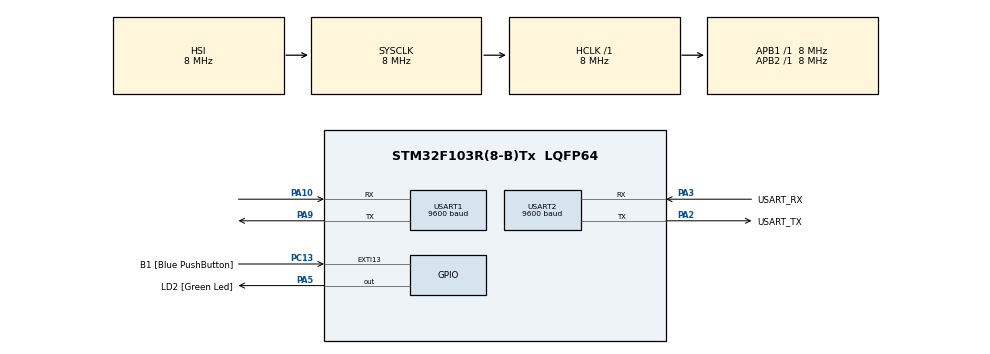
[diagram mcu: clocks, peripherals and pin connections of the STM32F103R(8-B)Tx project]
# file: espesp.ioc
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Mcu.Family=STM32F1
Mcu.Name=STM32F103R(8-B)Tx
Mcu.Package=LQFP64
NVIC.EXTI15_10_IRQn=true\:0\:0\:false\:false\:true\:true\:true\:true
NVIC.PriorityGroup=NVIC_PRIORITYGROUP_4
NVIC.USART1_IRQn=true\:0\:0\:false\:false\:true\:true\:true\:true
NVIC.USART2_IRQn=true\:0\:0\:false\:false\:true\:true\:true\:true
PA10.Mode=Asynchronous
PA10.Signal=USART1_RX
PA13.GPIO_Label=TMS
PA13.Mode=Serial_Wire
PA13.Signal=SYS_JTMS-SWDIO
PA14.GPIO_Label=TCK
PA14.Mode=Serial_Wire
PA14.Signal=SYS_JTCK-SWCLK
PA2.GPIO_Label=USART_TX
PA2.GPIO_Mode=GPIO_MODE_AF_PP
PA2.GPIO_PuPd=GPIO_NOPULL
PA2.GPIO_Speed=GPIO_SPEED_FREQ_LOW
PA2.Mode=Asynchronous
PA2.Signal=USART2_TX
PA3.GPIO_Label=USART_RX
PA3.GPIO_Mode=GPIO_MODE_AF_PP
PA3.GPIO_PuPd=GPIO_NOPULL
PA3.GPIO_Speed=GPIO_SPEED_FREQ_LOW
PA3.Mode=Asynchronous
PA3.Signal=USART2_RX
PA5.GPIO_Label=LD2 [Green Led]
PA5.GPIO_ModeDefaultOutputPP=GPIO_MODE_OUTPUT_PP
PA5.GPIO_PuPd=GPIO_NOPULL
PA5.GPIO_Speed=GPIO_SPEED_FREQ_LOW
PA5.Signal=GPIO_Output
PA9.Mode=Asynchronous
PA9.Signal=USART1_TX
PB3.GPIO_Label=SWO
PB3.Signal=SYS_JTDO-TRACESWO
PC13-TAMPER-RTC.GPIO_Label=B1 [Blue PushButton]
PC13-TAMPER-RTC.GPIO_PuPd=GPIO_NOPULL
PC13-TAMPER-RTC.Signal=GPXTI13
PC14-OSC32_IN.Mode=LSE-External-Oscillator
PC14-OSC32_IN.Signal=RCC_OSC32_IN
PC15-OSC32_OUT.Mode=LSE-External-Oscillator
PC15-OSC32_OUT.Signal=RCC_OSC32_OUT
PD0-OSC_IN.Mode=HSE-External-Clock-Source
PD0-OSC_IN.Signal=RCC_OSC_IN
PD1-OSC_OUT.Mode=HSE-External-Clock-Source
PD1-OSC_OUT.Signal=RCC_OSC_OUT
ProjectManager.HeapSize=0x200
ProjectManager.StackSize=0x400
ProjectManager.TargetToolchain=STM32CubeIDE
RCC.AHBFreq_Value=8000000
RCC.APB1Freq_Value=8000000
RCC.APB1TimFreq_Value=8000000
RCC.APB2Freq_Value=8000000
RCC.APB2TimFreq_Value=8000000
RCC.HCLKFreq_Value=8000000
RCC.PLLMUL=RCC_PLL_MUL16
RCC.RTCClockSelection=RCC_RTCCLKSOURCE_LSE
RCC.SYSCLKFreq_VALUE=8000000
RCC.USBFreq_Value=64000000
USART1.BaudRate=9600
USART1.VirtualMode=VM_ASYNC
USART2.BaudRate=9600
USART2.VirtualMode=VM_ASYNC
board=NUCLEO-F103RB

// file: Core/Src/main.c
/* USER CODE BEGIN Header */
/**
  ******************************************************************************
  * @file           : main.c
  * @brief          : Main program body
  ******************************************************************************
  * @attention
  *
  * Copyright (c) 2024 STMicroelectronics.
  * All rights reserved.
  *
  * This software is licensed under terms that can be found in the LICENSE file
  * in the root directory of this software component.
  * If no LICENSE file comes with this software, it is provided AS-IS.
  *
  ******************************************************************************
  */
/* USER CODE END Header */
#include "main.h"
#include "usart.h"
#include "gpio.h"

/* USER CODE BEGIN Includes */
#include<stdio.h>
#include<string.h>
/* USER CODE END Includes */

void SystemClock_Config(void);

/* USER CODE BEGIN 0 */
uint8_t BBOX[50];
uint8_t BBOX_count = 0;

void HAL_UART_RxCpltCallback(UART_HandleTypeDef *huart) {
	if(huart == &huart1) {
		HAL_UART_Receive_IT(&huart1, &BBOX[BBOX_count++], 1);
	}
}

/* USER CODE END 0 */

int main(void)
{
  /* USER CODE BEGIN 1 */
	//

  /* USER CODE END 1 */

  /* MCU Configuration--------------------------------------------------------*/

  /* Reset of all peripherals, Initializes the Flash interface and the Systick. */
  HAL_Init();

  /* Configure the system clock */
  SystemClock_Config();

  /* Initialize all configured peripherals */
  MX_GPIO_Init();
  MX_USART2_UART_Init();
  MX_USART1_UART_Init();
  /* USER CODE BEGIN 2 */
  HAL_UART_RxCpltCallback(&huart1);
  HAL_UART_Transmit(&huart2, (uint8_t *)("HI\r\n"), strlen("HI\r\n"), 100);
  /* USER CODE END 2 */

  /* Infinite loop */
  /* USER CODE BEGIN WHILE */

  uint8_t send_AT[] = "AT\r\n";

  while (1)
  {
    /* USER CODE END WHILE */

    /* USER CODE BEGIN 3 */
	  for(int i = 0; i < sizeof(send_AT); i++) {
		  HAL_UART_Transmit_IT(&huart1, send_AT, sizeof(send_AT));
		  HAL_Delay(100);
	  }

	  HAL_Delay(100);
	  HAL_UART_Transmit(&huart2, BBOX, strlen(BBOX), 100);

	  HAL_Delay(1000);
  }
  /* USER CODE END 3 */
}

void SystemClock_Config(void)
{
  RCC_OscInitTypeDef RCC_OscInitStruct = {0};
  RCC_ClkInitTypeDef RCC_ClkInitStruct = {0};

  /** Initializes the RCC Oscillators according to the specified parameters
  * in the RCC_OscInitTypeDef structure.
  */
  RCC_OscInitStruct.OscillatorType = RCC_OSCILLATORTYPE_HSI;
  RCC_OscInitStruct.HSIState = RCC_HSI_ON;
  RCC_OscInitStruct.HSICalibrationValue = RCC_HSICALIBRATION_DEFAULT;
  RCC_OscInitStruct.PLL.PLLState = RCC_PLL_NONE;
  if (HAL_RCC_OscConfig(&RCC_OscInitStruct) != HAL_OK)
  {
    Error_Handler();
  }

  /** Initializes the CPU, AHB and APB buses clocks
  */
  RCC_ClkInitStruct.ClockType = RCC_CLOCKTYPE_HCLK|RCC_CLOCKTYPE_SYSCLK
                              |RCC_CLOCKTYPE_PCLK1|RCC_CLOCKTYPE_PCLK2;
  RCC_ClkInitStruct.SYSCLKSource = RCC_SYSCLKSOURCE_HSI;
  RCC_ClkInitStruct.AHBCLKDivider = RCC_SYSCLK_DIV1;
  RCC_ClkInitStruct.APB1CLKDivider = RCC_HCLK_DIV1;
  RCC_ClkInitStruct.APB2CLKDivider = RCC_HCLK_DIV1;

  if (HAL_RCC_ClockConfig(&RCC_ClkInitStruct, FLASH_LATENCY_0) != HAL_OK)
  {
    Error_Handler();
  }
}

void Error_Handler(void)
{
  __disable_irq();
  while (1)
  {
  }
}
